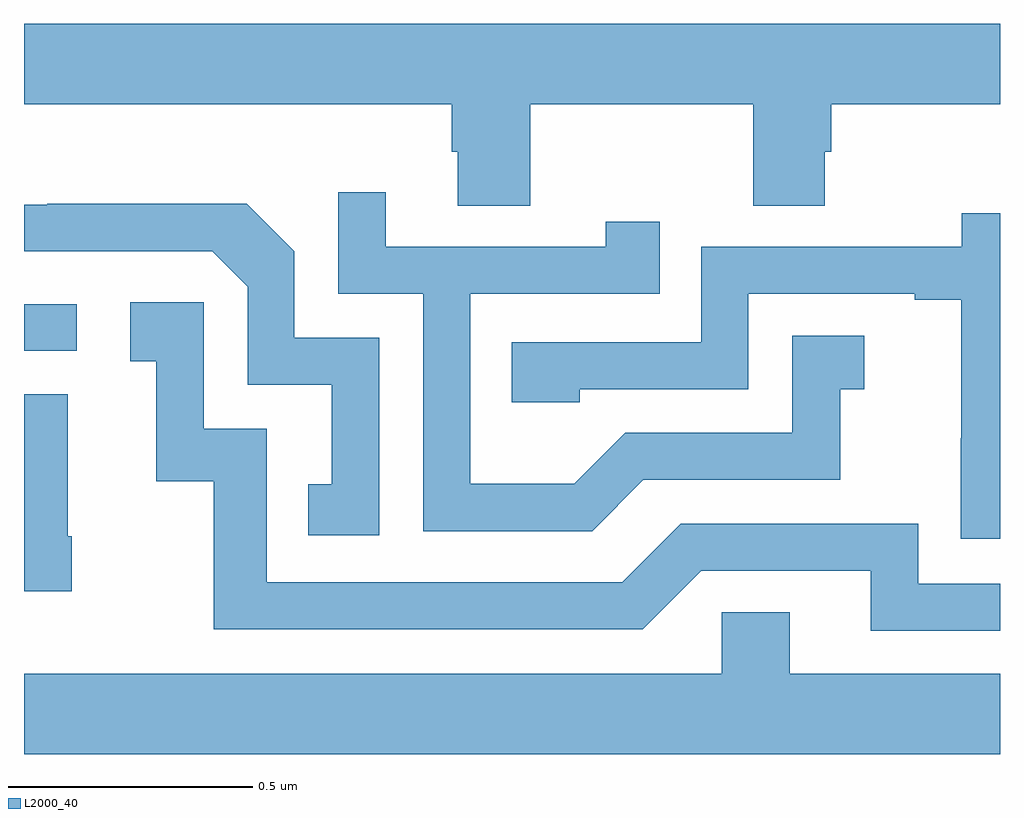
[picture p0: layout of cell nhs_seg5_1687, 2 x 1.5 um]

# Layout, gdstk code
import gdstk
lib = gdstk.Library(unit=1e-6, precision=1e-09)
def R(c, l, rs):  # rectangles x0, y0, x1, y1
    for r in rs: c.add(gdstk.rectangle(r[:2], r[2:], *l))
def P(c, l, *ps):  # polygons
    for p in ps: c.add(gdstk.Polygon(p, *l))
L2000_40 = (2000, 40)

nhs_seg5_1687 = lib.new_cell('nhs_seg5_1687')
R(nhs_seg5_1687, L2000_40, [(133,902.874,133.108,902.97)])
P(nhs_seg5_1687, L2000_40, [(134.037,903.38),(134.494,903.38),(134.494,903.172),(134.641,903.172),(134.641,903.282),(134.654,903.282),(134.654,903.38),(135,903.38),(135,903.544),(133,903.544),(133,903.38),(133.877,903.38),(133.877,903.282),(133.889,903.282),(133.889,903.172),(134.037,903.172)],
  [(134.269,902.61),(134.673,902.61),(134.673,902.795),(134.722,902.795),(134.722,902.905),(134.574,902.905),(134.574,902.706),(134.232,902.706),(134.128,902.602),(133.914,902.602),(133.914,902.991),(134.303,902.991),(134.303,903.139),(134.192,903.139),(134.192,903.087),(133.741,903.087),(133.741,903.199),(133.644,903.199),(133.644,902.991),(133.818,902.991),(133.818,902.505),(134.164,902.505)],
  [(133.728,902.901),(133.554,902.901),(133.554,903.078),(133.456,903.176),(133.048,903.176),(133.048,903.174),(133,903.174),(133,903.078),(133.386,903.078),(133.458,903.006),(133.458,902.805),(133.631,902.805),(133.631,902.601),(133.582,902.601),(133.582,902.496),(133.728,902.496)],
  [(135,903.156),(134.922,903.156),(134.922,903.087),(134.388,903.087),(134.388,902.892),(133.999,902.892),(133.999,902.769),(134.139,902.769),(134.139,902.796),(134.484,902.796),(134.484,902.991),(134.825,902.991),(134.825,902.979),(134.921,902.979),(134.921,902.695),(134.92,902.695),(134.92,902.489),(135,902.489)],
  [(135,902.397),(134.832,902.397),(134.832,902.52),(134.346,902.52),(134.226,902.4),(133.497,902.4),(133.497,902.715),(133.368,902.715),(133.368,902.974),(133.218,902.974),(133.218,902.853),(133.271,902.853),(133.271,902.607),(133.389,902.607),(133.389,902.304),(134.268,902.304),(134.388,902.424),(134.735,902.424),(134.735,902.301),(135,902.301)],
  [(133.098,902.494),(133.09,902.494),(133.09,902.785),(133,902.785),(133,902.382),(133.098,902.382)],
  [(135,902.212),(134.569,902.212),(134.569,902.339),(134.43,902.339),(134.43,902.212),(133,902.212),(133,902.048),(135,902.048)])

lib.write_gds('nhs_seg5_1687.gds')
